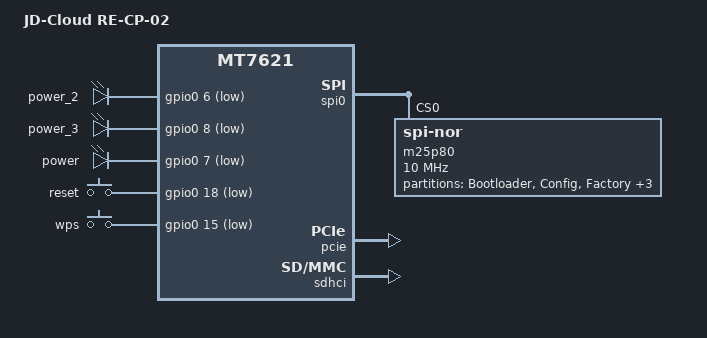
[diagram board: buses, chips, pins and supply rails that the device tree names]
/dts-v1/;

#include "mt7621.dtsi"
#include <dt-bindings/input/input.h>
#include "mt7621-raeth-gmac2.dtsi"
#include "mt7621-pinctrl-default-gpio.dtsi"

/ {
	compatible = "jdcloud,re-cp-02";
	model = "JD-Cloud RE-CP-02";

	chosen {
		bootargs = "console=ttyS0,115200";
	};

	leds {
		compatible = "gpio-leds";

		sys_red {
			label = "power_2";
			gpios = <&gpio0 6 GPIO_ACTIVE_LOW>;
		};

		sys_green {
			label = "power_3";
			gpios = <&gpio0 8 GPIO_ACTIVE_LOW>;
		};

		sys_blue {
			label = "power";
			gpios = <&gpio0 7 GPIO_ACTIVE_LOW>;
		};
	};

	gpio-keys-polled {
		compatible = "gpio-keys-polled";
		#address-cells = <1>;
		#size-cells = <0>;
		poll-interval = <20>;

		reset {
			label = "reset";
			gpios = <&gpio0 18 GPIO_ACTIVE_LOW>;
			linux,code = <KEY_RESTART>;
		};

		wps {
			label = "wps";
			gpios = <&gpio0 15 GPIO_ACTIVE_LOW>;
			linux,code = <KEY_WPS_BUTTON>;
		};
	};
};

&spi0 {
	status = "okay";

	m25p80@0 {
		#address-cells = <1>;
		#size-cells = <1>;
		compatible = "jedec,spi-nor";
		reg = <0>;
		spi-max-frequency = <10000000>;

		partition@0 {
			label = "Bootloader";
			reg = <0x00000 0x40000>;
		};

		partition@40000 {
			label = "Config";
			reg = <0x40000 0x10000>;
		};

		partition@50000 {
			label = "Factory";
			reg = <0x50000 0x40000>;
		};

		partition@90000 {
			label = "firmware";
			reg = <0x90000 0xef0000>;
		};

		partition@f80000 {
			label = "Storage";
			reg = <0xf80000 0x80000>;
		};

		partition@all {
			label = "ALL";
			reg = <0x0 0x1000000>;
		};
	};
};

&pcie {
	status = "okay";
};

&sdhci {
	status = "okay";
};
